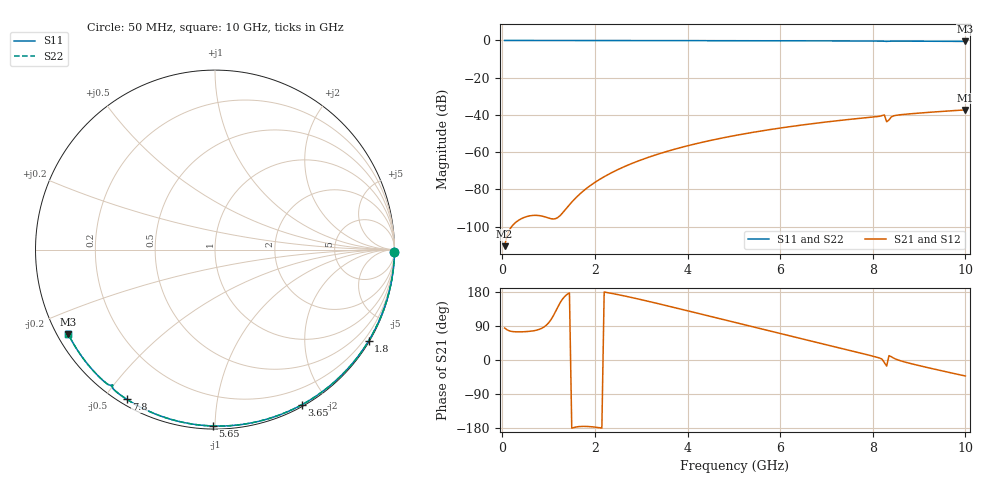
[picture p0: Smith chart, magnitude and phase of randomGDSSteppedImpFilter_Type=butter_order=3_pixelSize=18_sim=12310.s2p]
! freq	dB(S11)	phase(S11)	dB(S12)	phase(S12)
!  dB(S21)	phase(S21)	dB(S22)	phase(S22)
!S-par simulation data
#  GHz  S  DB  R 50
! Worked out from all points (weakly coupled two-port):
!   200 points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, 50 MHz to 10 GHz, reference 50 ohm
!   highest |S21| = -37.27 dB at 10 GHz (marker M1); lowest = -110.4 dB at 50 MHz (marker M2)
!   lowest |S11| = -0.5 dB at 10 GHz (marker M3), VSWR 34.27, Z = 1.56 - j13.3 ohm
!   |S11| at or under -10 dB: nowhere
!   |S22| runs from -0.5 to 0.0 dB; largest |S21 - S12| = 0
!   S11 on the Smith chart (normalised r, x): 50 MHz: open; 1.8 GHz: 0.03, -3.64; 3.65 GHz: 0.02, -1.71; 5.65 GHz: 0.02, -0.99; 7.8 GHz: 0.02, -0.57; 10 GHz: 0.03, -0.27
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0.05  -0.00 -0.9  -110.42 84.3  -110.42 84.3  -0.00 -0.9
0.9  -0.02 -15.5  -94.54 87.1  -94.54 87.1  -0.02 -15.5
1.75  -0.04 -29.9  -80.79 -175.2  -80.79 -175.2  -0.04 -29.9
1.8  -0.04 -30.7  -79.77 -175.2  -79.77 -175.2  -0.04 -30.7
2.1  -0.05 -35.7  -74.61 -178.7  -74.61 -178.7  -0.05 -35.7
2.5  -0.05 -42.3  -69.27 172.6  -69.27 172.6  -0.05 -42.3
2.9  -0.06 -48.8  -65.03 162.0  -65.03 162.0  -0.06 -48.8
3.4  -0.08 -56.8  -60.72 147.7  -60.72 147.7  -0.08 -56.8
3.65  -0.08 -60.7  -58.87 140.3  -58.87 140.3  -0.08 -60.7
4.3  -0.10 -70.7  -54.75 120.9  -54.75 120.9  -0.10 -70.7
5.05  -0.13 -82.0  -50.91 98.2  -50.91 98.2  -0.13 -82.0
5.65  -0.15 -90.7  -48.34 80.1  -48.34 80.1  -0.15 -90.7
6.7  -0.20 -105.5  -44.65 48.9  -44.65 48.9  -0.20 -105.5
7.8  -0.28 -120.6  -41.59 16.4  -41.59 16.4  -0.28 -120.6
8.1  -0.32 -124.8  -40.85 6.8  -40.85 6.8  -0.32 -124.8
8.25  -0.42 -127.1  -39.97 -6.8  -39.97 -6.8  -0.44 -127.1
8.3  -0.49 -127.2  -43.65 -16.0  -43.65 -16.0  -0.48 -126.9
8.35  -0.42 -127.4  -42.66 11.5  -42.66 11.5  -0.40 -127.4
8.4  -0.37 -128.1  -41.02 8.7  -41.02 8.7  -0.37 -128.1
8.55  -0.36 -130.3  -40.02 -0.1  -40.02 -0.1  -0.36 -130.3
9.25  -0.42 -139.9  -38.52 -21.9  -38.52 -21.9  -0.42 -139.9
10  -0.51 -150.1  -37.27 -42.2  -37.27 -42.2  -0.51 -150.1
